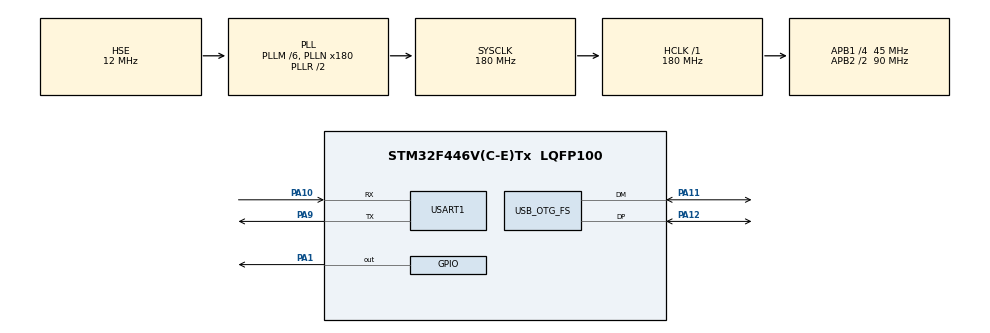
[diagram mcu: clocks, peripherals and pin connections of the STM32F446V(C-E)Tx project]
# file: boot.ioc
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Mcu.Family=STM32F4
Mcu.Name=STM32F446V(C-E)Tx
Mcu.Package=LQFP100
NVIC.OTG_FS_IRQn=true\:0\:0\:false\:false\:true\:true\:true\:true
NVIC.PriorityGroup=NVIC_PRIORITYGROUP_4
PA1.Signal=GPIO_Output
PA10.Mode=Asynchronous
PA10.Signal=USART1_RX
PA11.GPIO_PuPd=GPIO_NOPULL
PA11.Mode=Host_Only
PA11.Signal=USB_OTG_FS_DM
PA12.GPIO_PuPd=GPIO_NOPULL
PA12.Mode=Host_Only
PA12.Signal=USB_OTG_FS_DP
PA13.Mode=Serial_Wire
PA13.Signal=SYS_JTMS-SWDIO
PA14.Mode=Serial_Wire
PA14.Signal=SYS_JTCK-SWCLK
PA9.Mode=Asynchronous
PA9.Signal=USART1_TX
PH0-OSC_IN.Mode=HSE-External-Oscillator
PH0-OSC_IN.Signal=RCC_OSC_IN
PH1-OSC_OUT.Mode=HSE-External-Oscillator
PH1-OSC_OUT.Signal=RCC_OSC_OUT
ProjectManager.HeapSize=0x1000
ProjectManager.StackSize=0x1000
ProjectManager.TargetToolchain=STM32CubeIDE
RCC.AHBFreq_Value=180000000
RCC.APB1CLKDivider=RCC_HCLK_DIV4
RCC.APB1Freq_Value=45000000
RCC.APB1TimFreq_Value=90000000
RCC.APB2CLKDivider=RCC_HCLK_DIV2
RCC.APB2Freq_Value=90000000
RCC.APB2TimFreq_Value=180000000
RCC.CortexFreq_Value=180000000
RCC.HCLKFreq_Value=180000000
RCC.HSE_VALUE=12000000
RCC.PLLM=6
RCC.PLLN=180
RCC.PLLSAIM=6
RCC.PLLSAIN=96
RCC.PLLSAIP=RCC_PLLSAIP_DIV4
RCC.SYSCLKFreq_VALUE=180000000
RCC.SYSCLKSource=RCC_SYSCLKSOURCE_PLLRCLK
RCC.USBCLockSelection=RCC_CLK48CLKSOURCE_PLLSAIP
RCC.USBFreq_Value=48000000
RCC.VCOOutputFreq_Value=360000000
USART1.VirtualMode=VM_ASYNC
USB_HOST.BSP.number=1
USB_HOST.USBH_HandleTypeDef-MSC_FS=hUsbHostFS
USB_HOST.USBH_USE_OS-MSC_FS=0
USB_HOST.VirtualModeFS=Msc
USB_HOST0.BSP.STBoard=false
USB_HOST0.BSP.api=Unknown
USB_HOST0.BSP.instance=PA1
USB_HOST0.BSP.ip=GPIO
USB_HOST0.BSP.mode=Output
USB_HOST0.BSP.name=Drive_VBUS_FS
USB_HOST0.BSP.solution=PA1
USB_OTG_FS.VirtualMode=Host_Only
USB_OTG_FS.phy_itface=HCD_PHY_EMBEDDED
VP_FATFS_VS_USB.Mode=USB
VP_USB_HOST_VS_USB_HOST_MSC_FS.Mode=MSC_FS
board=custom

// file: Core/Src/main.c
/* USER CODE BEGIN Header */
/**
  ******************************************************************************
  * @file           : main.c
  * @brief          : Main program body
  ******************************************************************************
  * @attention
  *
  * Copyright (c) 2022 STMicroelectronics.
  * All rights reserved.
  *
  * This software is licensed under terms that can be found in the LICENSE file
  * in the root directory of this software component.
  * If no LICENSE file comes with this software, it is provided AS-IS.
  *
  ******************************************************************************
  */
/* USER CODE END Header */
#include "main.h"
#include "fatfs.h"
#include "usart.h"
#include "usb_host.h"
#include "gpio.h"

/* USER CODE BEGIN PTD */
#include "BootLoader.h"
#include "stdio.h"
/* USER CODE END PTD */

/* USER CODE BEGIN PV */
#ifdef __GNUC__
#define PUTCHAR_PROTOTYPE int __io_putchar(int ch)
#else
#define PUTCHAR_PROTOTYPE int fputc(int ch, FILE *f)
#endif

PUTCHAR_PROTOTYPE
{
	HAL_UART_Transmit(&huart1, (uint8_t*) &ch, 1, 0xffff);
	return ch;
}

/* USER CODE END PV */

void SystemClock_Config(void);
void MX_USB_HOST_Process(void);

/* USER CODE BEGIN 0 */
#define BOOTLODER_CHEK_ADDR    (*((uint32_t *)0x2001FFFC))
#define BOOTLODER_CHEK_VAL     (0xDEADBEEF)
#define BOOTLODER_Into_ADDR    (*((uint32_t *) (0x1FFF0004)))

void init(){
  static void(*bootloaderFunc)(void);
  if (BOOTLODER_CHEK_ADDR == BOOTLODER_CHEK_VAL)
  {
     BOOTLODER_CHEK_ADDR = 0;
     bootloaderFunc = (void (*)(void)) BOOTLODER_Into_ADDR;
     bootloaderFunc();
  }
}

/* USER CODE END 0 */

int main(void)
{
  /* USER CODE BEGIN 1 */
	init();

  /* USER CODE END 1 */

  /* MCU Configuration--------------------------------------------------------*/

  /* Reset of all peripherals, Initializes the Flash interface and the Systick. */
  HAL_Init();

  /* Configure the system clock */
  SystemClock_Config();

  /* Initialize all configured peripherals */
  MX_GPIO_Init();
  MX_FATFS_Init();
  MX_USB_HOST_Init();
  MX_USART1_UART_Init();
  /* USER CODE BEGIN 2 */
  bootloaderTimeout = HAL_GetTick() + 2000;

  /* USER CODE END 2 */

  /* Infinite loop */
  while (1)
  {
    MX_USB_HOST_Process();

    /* USER CODE BEGIN 3 */
	      printf("xuqing %d\n", (int)Appli_state);
	  	  printf("xuqing\r\n");
	  	  printf("%d\n", HAL_GetTick());
	  	  UP_Data();
  }
  /* USER CODE END 3 */
}

void SystemClock_Config(void)
{
  RCC_OscInitTypeDef RCC_OscInitStruct = {0};
  RCC_ClkInitTypeDef RCC_ClkInitStruct = {0};

  /** Configure the main internal regulator output voltage
  */
  __HAL_RCC_PWR_CLK_ENABLE();
  __HAL_PWR_VOLTAGESCALING_CONFIG(PWR_REGULATOR_VOLTAGE_SCALE1);

  /** Initializes the RCC Oscillators according to the specified parameters
  * in the RCC_OscInitTypeDef structure.
  */
  RCC_OscInitStruct.OscillatorType = RCC_OSCILLATORTYPE_HSE;
  RCC_OscInitStruct.HSEState = RCC_HSE_ON;
  RCC_OscInitStruct.PLL.PLLState = RCC_PLL_ON;
  RCC_OscInitStruct.PLL.PLLSource = RCC_PLLSOURCE_HSE;
  RCC_OscInitStruct.PLL.PLLM = 6;
  RCC_OscInitStruct.PLL.PLLN = 180;
  RCC_OscInitStruct.PLL.PLLP = RCC_PLLP_DIV2;
  RCC_OscInitStruct.PLL.PLLQ = 2;
  RCC_OscInitStruct.PLL.PLLR = 2;
  if (HAL_RCC_OscConfig(&RCC_OscInitStruct) != HAL_OK)
  {
    Error_Handler();
  }

  /** Activate the Over-Drive mode
  */
  if (HAL_PWREx_EnableOverDrive() != HAL_OK)
  {
    Error_Handler();
  }

  /** Initializes the CPU, AHB and APB buses clocks
  */
  RCC_ClkInitStruct.ClockType = RCC_CLOCKTYPE_HCLK|RCC_CLOCKTYPE_SYSCLK
                              |RCC_CLOCKTYPE_PCLK1|RCC_CLOCKTYPE_PCLK2;
  RCC_ClkInitStruct.SYSCLKSource = RCC_SYSCLKSOURCE_PLLRCLK;
  RCC_ClkInitStruct.AHBCLKDivider = RCC_SYSCLK_DIV1;
  RCC_ClkInitStruct.APB1CLKDivider = RCC_HCLK_DIV4;
  RCC_ClkInitStruct.APB2CLKDivider = RCC_HCLK_DIV2;

  if (HAL_RCC_ClockConfig(&RCC_ClkInitStruct, FLASH_LATENCY_5) != HAL_OK)
  {
    Error_Handler();
  }
}

void Error_Handler(void)
{
  /* USER CODE BEGIN Error_Handler_Debug */
  /* User can add his own implementation to report the HAL error return state */
  __disable_irq();
  printf("cuowu\n");
  while (1)
  {
  }
  /* USER CODE END Error_Handler_Debug */
}
